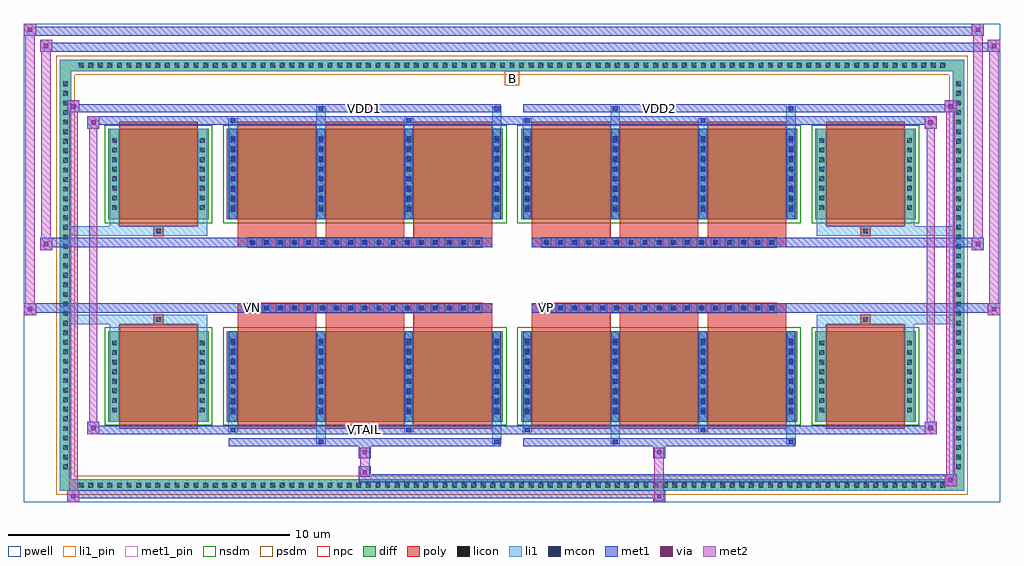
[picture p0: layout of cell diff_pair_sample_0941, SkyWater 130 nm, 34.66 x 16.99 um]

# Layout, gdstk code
import gdstk
lib = gdstk.Library(unit=1e-6, precision=5e-09)
def R(c, l, rs):  # rectangles x0, y0, x1, y1
    for r in rs: c.add(gdstk.rectangle(r[:2], r[2:], *l))
def A(c, l, x, y, w, h, nx, ny, dx, dy):  # array of equal rectangles
    R(c, l, [(x+i*dx, y+j*dy, x+i*dx+w, y+j*dy+h) for i in range(nx) for j in range(ny)])
def P(c, l, *ps):  # polygons
    for p in ps: c.add(gdstk.Polygon(p, *l))
pwell = (64, 44)
diff = (65, 20)
poly = (66, 20)
licon = (66, 44)
li1_pin = (67, 16)
li1 = (67, 20)
mcon = (67, 44)
met1_pin = (68, 16)
met1 = (68, 20)
via = (68, 44)
met2 = (69, 20)
nsdm = (93, 44)
psdm = (94, 20)
npc = (95, 20)

diff_pair_sample_0941 = lib.new_cell('diff_pair_sample_0941')
R(diff_pair_sample_0941, pwell, [(-17.33,-8.06,17.33,8.93), (-14.65,-6.25,-0.01,-0.795), (0.01,-6.25,14.65,-0.795), (-14.65,0.795,-0.01,6.25), (0.01,0.795,14.65,6.25)])
A(diff_pair_sample_0941, diff, -15.505, -7.66, 0.41, 0.41, 91, 2, 0.34, 14.91)
A(diff_pair_sample_0941, diff, -16.06, -7.005, 0.41, 0.41, 1, 41, 0, 0.34)
A(diff_pair_sample_0941, diff, 15.65, -7.005, 0.41, 0.41, 1, 41, 0, 0.34)
R(diff_pair_sample_0941, diff, [(-15.505,-7.66,15.505,-7.25), (-16.06,-7.005,-15.65,7.005), (15.65,-7.005,16.06,7.005), (-14.34,-5.205,-10.77,-1.985), (-10.13,-5.205,-0.32,-1.985), (0.32,-5.205,10.13,-1.985), (10.77,-5.205,14.34,-1.985), (-14.34,1.985,-10.77,5.205), (-10.13,1.985,-0.32,5.205), (0.32,1.985,10.13,5.205), (10.77,1.985,14.34,5.205), (-15.505,7.25,15.505,7.66)])
P(diff_pair_sample_0941, diff, [(16.06,7.66),(-16.06,7.66),(-16.06,-7.25),(-15.65,-7.25),(-15.65,7.25),(15.65,7.25),(15.65,-7.25),(-15.65,-7.25),(-16.06,-7.25),(-16.06,-7.66),(16.06,-7.66)])
A(diff_pair_sample_0941, poly, -9.74, -5.455, 2.79, 3.72, 3, 2, 3.12, 7.19)
A(diff_pair_sample_0941, poly, 0.71, -5.455, 2.79, 3.72, 3, 2, 3.12, 7.19)
A(diff_pair_sample_0941, poly, -9.74, -1.735, 2.79, 0.41, 3, 2, 3.12, 3.06)
A(diff_pair_sample_0941, poly, 0.71, -1.735, 2.79, 0.41, 3, 2, 3.12, 3.06)
A(diff_pair_sample_0941, poly, -9.39, -1.325, 0.33, 0.33, 17, 2, 0.5, 2.32)
A(diff_pair_sample_0941, poly, 1.06, -1.325, 0.33, 0.33, 17, 2, 0.5, 2.32)
R(diff_pair_sample_0941, poly, [(-13.95,-5.455,-11.16,-1.735), (11.16,-5.455,13.95,-1.735), (-12.72,-1.735,-12.39,-1.405), (-12.72,-1.735,-12.39,-1.405), (12.39,-1.735,12.72,-1.405), (12.39,-1.735,12.72,-1.405), (-9.74,-1.325,-0.71,-0.995), (0.71,-1.325,9.74,-0.995), (-9.74,0.995,-0.71,1.325), (0.71,0.995,9.74,1.325), (-12.72,1.405,-12.39,1.735), (-12.72,1.405,-12.39,1.735), (12.39,1.405,12.72,1.735), (12.39,1.405,12.72,1.735), (-13.95,1.735,-11.16,5.455), (11.16,1.735,13.95,5.455)])
A(diff_pair_sample_0941, licon, -15.385, -7.54, 0.17, 0.17, 91, 2, 0.34, 14.91)
A(diff_pair_sample_0941, licon, -15.94, -6.885, 0.17, 0.17, 1, 41, 0, 0.34)
A(diff_pair_sample_0941, licon, 15.77, -6.885, 0.17, 0.17, 1, 41, 0, 0.34)
A(diff_pair_sample_0941, licon, -14.2, -4.87, 0.17, 0.17, 1, 8, 0, 0.34)
A(diff_pair_sample_0941, licon, -11.08, -4.87, 0.17, 0.17, 1, 8, 0, 0.34)
A(diff_pair_sample_0941, licon, -9.99, -4.87, 0.17, 0.17, 4, 8, 3.12, 0.34)
A(diff_pair_sample_0941, licon, 0.46, -4.87, 0.17, 0.17, 4, 8, 3.12, 0.34)
A(diff_pair_sample_0941, licon, 10.91, -4.87, 0.17, 0.17, 1, 8, 0, 0.34)
A(diff_pair_sample_0941, licon, 14.03, -4.87, 0.17, 0.17, 1, 8, 0, 0.34)
A(diff_pair_sample_0941, licon, -9.31, -1.245, 0.17, 0.17, 17, 2, 0.5, 2.32)
A(diff_pair_sample_0941, licon, 1.14, -1.245, 0.17, 0.17, 17, 2, 0.5, 2.32)
A(diff_pair_sample_0941, licon, -14.2, 2.32, 0.17, 0.17, 1, 8, 0, 0.34)
A(diff_pair_sample_0941, licon, -11.08, 2.32, 0.17, 0.17, 1, 8, 0, 0.34)
A(diff_pair_sample_0941, licon, -9.99, 2.32, 0.17, 0.17, 4, 8, 3.12, 0.34)
A(diff_pair_sample_0941, licon, 0.46, 2.32, 0.17, 0.17, 4, 8, 3.12, 0.34)
A(diff_pair_sample_0941, licon, 10.91, 2.32, 0.17, 0.17, 1, 8, 0, 0.34)
A(diff_pair_sample_0941, licon, 14.03, 2.32, 0.17, 0.17, 1, 8, 0, 0.34)
R(diff_pair_sample_0941, licon, [(-12.64,-1.655,-12.47,-1.485), (12.47,-1.655,12.64,-1.485), (-12.64,1.485,-12.47,1.655), (12.47,1.485,12.64,1.655)])
R(diff_pair_sample_0941, li1_pin, [(-0.25,6.75,0.25,7.25)])
A(diff_pair_sample_0941, li1, -15.465, -7.62, 0.33, 0.33, 91, 2, 0.34, 14.91)
A(diff_pair_sample_0941, li1, -16.02, -6.965, 0.33, 0.33, 1, 41, 0, 0.34)
A(diff_pair_sample_0941, li1, 15.69, -6.965, 0.33, 0.33, 1, 41, 0, 0.34)
A(diff_pair_sample_0941, li1, -10.07, -5.205, 0.33, 3.22, 4, 2, 3.12, 7.19)
A(diff_pair_sample_0941, li1, 0.38, -5.205, 0.33, 3.22, 4, 2, 3.12, 7.19)
A(diff_pair_sample_0941, li1, -14.28, -4.95, 0.33, 0.33, 1, 8, 0, 0.34)
A(diff_pair_sample_0941, li1, -11.16, -4.95, 0.33, 0.33, 1, 8, 0, 0.34)
A(diff_pair_sample_0941, li1, -10.07, -4.95, 0.33, 0.33, 4, 8, 3.12, 0.34)
A(diff_pair_sample_0941, li1, 0.38, -4.95, 0.33, 0.33, 4, 8, 3.12, 0.34)
A(diff_pair_sample_0941, li1, 10.83, -4.95, 0.33, 0.33, 1, 8, 0, 0.34)
A(diff_pair_sample_0941, li1, 13.95, -4.95, 0.33, 0.33, 1, 8, 0, 0.34)
A(diff_pair_sample_0941, li1, -9.99, -4.94, 0.17, 0.17, 4, 8, 3.12, 0.36)
A(diff_pair_sample_0941, li1, -9.99, -4.94, 0.17, 2.69, 4, 2, 3.12, 7.19)
A(diff_pair_sample_0941, li1, 0.46, -4.94, 0.17, 0.17, 4, 8, 3.12, 0.36)
A(diff_pair_sample_0941, li1, 0.46, -4.94, 0.17, 2.69, 4, 2, 3.12, 7.19)
A(diff_pair_sample_0941, li1, -9.39, -1.325, 0.33, 0.33, 17, 2, 0.5, 2.32)
A(diff_pair_sample_0941, li1, 1.06, -1.325, 0.33, 0.33, 17, 2, 0.5, 2.32)
A(diff_pair_sample_0941, li1, -14.28, 2.24, 0.33, 0.33, 1, 8, 0, 0.34)
A(diff_pair_sample_0941, li1, -11.16, 2.24, 0.33, 0.33, 1, 8, 0, 0.34)
A(diff_pair_sample_0941, li1, -10.07, 2.24, 0.33, 0.33, 4, 8, 3.12, 0.34)
A(diff_pair_sample_0941, li1, 0.38, 2.24, 0.33, 0.33, 4, 8, 3.12, 0.34)
A(diff_pair_sample_0941, li1, 10.83, 2.24, 0.33, 0.33, 1, 8, 0, 0.34)
A(diff_pair_sample_0941, li1, 13.95, 2.24, 0.33, 0.33, 1, 8, 0, 0.34)
A(diff_pair_sample_0941, li1, -9.99, 2.25, 0.17, 0.17, 4, 8, 3.12, 0.36)
A(diff_pair_sample_0941, li1, 0.46, 2.25, 0.17, 0.17, 4, 8, 3.12, 0.36)
R(diff_pair_sample_0941, li1, [(-16.06,-7.66,-15.65,-7.25), (-16.06,-7.66,-15.65,-7.25), (-15.65,-7.66,15.65,-7.25), (15.65,-7.66,16.06,-7.25), (15.65,-7.66,16.06,-7.25), (-16.06,-7.25,-15.65,7.25), (15.65,-7.25,16.06,7.25), (-6.95,-6.01,-6.62,-5.205), (-6.87,-6.01,-6.7,-5.84), (-0.71,-6.01,-0.38,-5.205), (-0.63,-6.01,-0.46,-5.84), (3.5,-6.01,3.83,-5.205), (3.58,-6.01,3.75,-5.84), (9.74,-6.01,10.07,-5.205), (9.82,-6.01,9.99,-5.84), (-10.07,-5.58,-9.74,-5.205), (-9.99,-5.58,-9.82,-5.41), (-3.83,-5.58,-3.5,-5.205), (-3.75,-5.58,-3.58,-5.41), (0.38,-5.58,0.71,-5.205), (0.46,-5.58,0.63,-5.41), (6.62,-5.58,6.95,-5.205), (6.7,-5.58,6.87,-5.41), (-14.28,-5.205,-13.95,-1.985), (-11.16,-5.205,-10.83,-1.985), (10.83,-5.205,11.16,-1.985), (13.95,-5.205,14.28,-1.985), (-14.28,-1.985,-13.95,-1.405), (-11.16,-1.985,-10.83,-1.405), (10.83,-1.985,11.16,-1.405), (13.95,-1.985,14.28,-1.405), (-16.06,-1.735,-12.72,-1.405), (-14.28,-1.735,-12.72,-1.405), (-12.72,-1.735,-12.39,-1.405), (-12.39,-1.735,-10.83,-1.405), (10.83,-1.735,12.39,-1.405), (12.39,-1.735,12.72,-1.405), (12.39,-1.735,16.06,-1.405), (12.72,-1.735,14.28,-1.405), (-16.06,1.405,-12.72,1.735), (-14.28,1.405,-12.72,1.735), (-14.28,1.405,-13.95,1.985), (-12.72,1.405,-12.39,1.735), (-12.39,1.405,-10.83,1.735), (-11.16,1.405,-10.83,1.985), (10.83,1.405,12.39,1.735), (10.83,1.405,11.16,1.985), (12.39,1.405,12.72,1.735), (12.39,1.405,16.06,1.735), (12.72,1.405,14.28,1.735), (13.95,1.405,14.28,1.985), (-14.28,1.985,-13.95,5.205), (-11.16,1.985,-10.83,5.205), (10.83,1.985,11.16,5.205), (13.95,1.985,14.28,5.205), (-10.07,5.205,-9.74,5.58), (-6.95,5.205,-6.62,6.01), (-3.83,5.205,-3.5,5.58), (-0.71,5.205,-0.38,6.01), (0.38,5.205,0.71,5.58), (3.5,5.205,3.83,6.01), (6.62,5.205,6.95,5.58), (9.74,5.205,10.07,6.01), (-9.99,5.41,-9.82,5.58), (-3.75,5.41,-3.58,5.58), (0.46,5.41,0.63,5.58), (6.7,5.41,6.87,5.58), (-6.87,5.84,-6.7,6.01), (-0.63,5.84,-0.46,6.01), (3.58,5.84,3.75,6.01), (9.82,5.84,9.99,6.01), (-16.06,7.25,-15.65,7.66), (-16.06,7.25,-15.65,7.66), (-15.65,7.25,15.65,7.66), (15.65,7.25,16.06,7.66), (15.65,7.25,16.06,7.66)])
A(diff_pair_sample_0941, mcon, -9.99, -4.94, 0.17, 0.17, 4, 8, 3.12, 0.36)
A(diff_pair_sample_0941, mcon, 0.46, -4.94, 0.17, 0.17, 4, 8, 3.12, 0.36)
A(diff_pair_sample_0941, mcon, -9.31, -1.245, 0.17, 0.17, 17, 2, 0.5, 2.32)
A(diff_pair_sample_0941, mcon, 1.14, -1.245, 0.17, 0.17, 17, 2, 0.5, 2.32)
A(diff_pair_sample_0941, mcon, -9.99, 2.25, 0.17, 0.17, 4, 8, 3.12, 0.36)
A(diff_pair_sample_0941, mcon, 0.46, 2.25, 0.17, 0.17, 4, 8, 3.12, 0.36)
R(diff_pair_sample_0941, mcon, [(-6.87,-6.01,-6.7,-5.84), (-0.63,-6.01,-0.46,-5.84), (3.58,-6.01,3.75,-5.84), (9.82,-6.01,9.99,-5.84), (-9.99,-5.58,-9.82,-5.41), (-3.75,-5.58,-3.58,-5.41), (0.46,-5.58,0.63,-5.41), (6.7,-5.58,6.87,-5.41), (-9.99,5.41,-9.82,5.58), (-3.75,5.41,-3.58,5.58), (0.46,5.41,0.63,5.58), (6.7,5.41,6.87,5.58), (-6.87,5.84,-6.7,6.01), (-0.63,5.84,-0.46,6.01), (3.58,5.84,3.75,6.01), (9.82,5.84,9.99,6.01)])
R(diff_pair_sample_0941, met1_pin, [(-5.36,-5.62,-5.09,-5.35), (-9.36,-1.285,-9.09,-1.015), (1.09,-1.285,1.36,-1.015), (-5.36,5.8,-5.09,6.07), (5.09,5.8,5.36,6.07)])
A(diff_pair_sample_0941, met1, -10.05, -5.205, 0.29, 3.22, 4, 2, 3.12, 7.19)
A(diff_pair_sample_0941, met1, 0.4, -5.205, 0.29, 3.22, 4, 2, 3.12, 7.19)
A(diff_pair_sample_0941, met1, -10.05, -5, 0.29, 0.29, 4, 8, 3.12, 0.36)
A(diff_pair_sample_0941, met1, 0.4, -5, 0.29, 0.29, 4, 8, 3.12, 0.36)
A(diff_pair_sample_0941, met1, -9.37, -1.305, 0.29, 0.29, 17, 2, 0.5, 2.32)
A(diff_pair_sample_0941, met1, 1.08, -1.305, 0.29, 0.29, 17, 2, 0.5, 2.32)
A(diff_pair_sample_0941, met1, -10.05, 2.19, 0.29, 0.29, 4, 8, 3.12, 0.36)
A(diff_pair_sample_0941, met1, 0.4, 2.19, 0.29, 0.29, 4, 8, 3.12, 0.36)
R(diff_pair_sample_0941, met1, [(-15.79,-8.06,-15.36,-7.63), (5.01,-8.06,5.44,-7.63), (-15.79,-7.92,5.44,-7.63), (15.36,-7.49,15.79,-7.06), (-5.44,-7.35,15.79,-7.06), (-5.44,-7.21,-5.01,-6.78), (-5.44,-6.5,-5.01,-6.07), (5.01,-6.5,5.44,-6.07), (-10.05,-6.07,-0.4,-5.78), (-6.93,-6.07,-6.64,-5.78), (-0.69,-6.07,-0.4,-5.78), (0.4,-6.07,10.05,-5.78), (3.52,-6.07,3.81,-5.78), (9.76,-6.07,10.05,-5.78), (-15.08,-5.64,-14.65,-5.21), (-15.08,-5.64,-10.05,-5.35), (-10.05,-5.64,-9.76,-5.35), (-10.05,-5.64,-0.4,-5.35), (-3.81,-5.64,-3.52,-5.35), (-0.4,-5.64,0.4,-5.35), (0.4,-5.64,0.69,-5.35), (0.4,-5.64,10.05,-5.35), (6.64,-5.64,6.93,-5.35), (10.05,-5.64,15.08,-5.35), (14.65,-5.64,15.08,-5.21), (-17.33,-1.425,-16.9,-0.995), (16.9,-1.425,17.33,-0.995), (-17.33,-1.325,-0.71,-0.995), (-9.74,-1.325,-0.71,-0.995), (0.71,-1.325,9.74,-0.995), (0.71,-1.325,17.33,-0.995), (-16.76,0.895,-16.33,1.325), (16.33,0.895,16.76,1.325), (-16.76,0.995,-9.74,1.325), (-9.74,0.995,-0.71,1.325), (0.71,0.995,9.74,1.325), (9.74,0.995,16.76,1.325), (-15.08,5.21,-14.65,5.64), (14.65,5.21,15.08,5.64), (-15.08,5.35,-10.05,5.64), (-10.05,5.35,-9.76,5.64), (-10.05,5.35,-0.4,5.64), (-3.81,5.35,-3.52,5.64), (-0.4,5.35,0.4,5.64), (0.4,5.35,0.69,5.64), (0.4,5.35,10.05,5.64), (6.64,5.35,6.93,5.64), (10.05,5.35,15.08,5.64), (-15.79,5.78,-15.36,6.21), (-15.79,5.78,-10.05,6.07), (-10.05,5.78,-0.4,6.07), (-6.93,5.78,-6.64,6.07), (-0.69,5.78,-0.4,6.07), (0.4,5.78,10.05,6.07), (3.52,5.78,3.81,6.07), (9.76,5.78,10.05,6.07), (10.05,5.78,15.79,6.07), (15.36,5.78,15.79,6.21), (-16.76,7.93,-16.33,8.36), (-16.76,7.93,-14.65,8.26), (-14.65,7.93,14.65,8.26), (14.65,7.93,17.33,8.26), (16.9,7.93,17.33,8.36), (-17.33,8.5,-16.9,8.93), (-17.33,8.5,-14.65,8.83), (-14.65,8.5,14.65,8.83), (14.65,8.5,16.76,8.83), (16.33,8.5,16.76,8.93)])
R(diff_pair_sample_0941, via, [(-15.65,-7.92,-15.5,-7.77), (5.15,-7.92,5.3,-7.77), (15.5,-7.35,15.65,-7.2), (-5.3,-7.07,-5.15,-6.92), (-5.3,-6.36,-5.15,-6.21), (5.15,-6.36,5.3,-6.21), (-14.94,-5.5,-14.79,-5.35), (14.79,-5.5,14.94,-5.35), (-17.19,-1.285,-17.04,-1.135), (17.04,-1.285,17.19,-1.135), (-16.62,1.035,-16.47,1.185), (16.47,1.035,16.62,1.185), (-14.94,5.35,-14.79,5.5), (14.79,5.35,14.94,5.5), (-15.65,5.92,-15.5,6.07), (15.5,5.92,15.65,6.07), (-16.62,8.07,-16.47,8.22), (17.04,8.07,17.19,8.22), (-17.19,8.64,-17.04,8.79), (16.47,8.64,16.62,8.79)])
R(diff_pair_sample_0941, met2, [(-15.79,-8.06,-15.36,-7.63), (-15.72,-8.06,-15.43,6.21), (-15.43,-8.06,-15.36,-7.63), (-15.74,-8.01,-15.41,-7.68), (5.06,-8.01,5.39,-7.68), (5.06,-7.68,5.39,-6.45), (15.36,-7.49,15.79,-7.06), (15.43,-7.49,15.72,6.21), (15.72,-7.49,15.79,-7.06), (15.41,-7.44,15.74,-7.11), (-5.39,-7.16,-5.06,-6.83), (-5.39,-6.83,-5.06,-6.45), (-5.39,-6.45,-5.06,-6.12), (5.06,-6.45,5.39,-6.12), (-15.08,-5.64,-14.65,-5.21), (-15.01,-5.64,-14.72,5.64), (-14.72,-5.64,-14.65,-5.21), (14.65,-5.64,15.08,-5.21), (14.72,-5.64,15.01,5.64), (15.01,-5.64,15.08,-5.21), (-15.03,-5.59,-14.7,-5.26), (14.7,-5.59,15.03,-5.26), (-17.33,-1.425,-16.9,-0.995), (-17.28,-1.425,-16.95,8.93), (-16.95,-1.425,-16.9,-0.995), (16.9,-1.425,17.33,-0.995), (16.95,-1.425,17.28,8.36), (17.28,-1.425,17.33,-0.995), (-17.28,-1.375,-16.95,-1.045), (16.95,-1.375,17.28,-1.045), (-16.76,0.895,-16.33,1.325), (-16.71,0.895,-16.38,8.36), (-16.38,0.895,-16.33,1.325), (16.33,0.895,16.76,1.325), (16.38,0.895,16.71,8.93), (16.71,0.895,16.76,1.325), (-16.71,0.945,-16.38,1.275), (16.38,0.945,16.71,1.275), (-15.08,5.21,-14.65,5.64), (-14.72,5.21,-14.65,5.64), (14.65,5.21,15.08,5.64), (15.01,5.21,15.08,5.64), (-15.03,5.26,-14.7,5.59), (14.7,5.26,15.03,5.59), (-15.79,5.78,-15.36,6.21), (-15.43,5.78,-15.36,6.21), (15.36,5.78,15.79,6.21), (15.72,5.78,15.79,6.21), (-15.74,5.83,-15.41,6.16), (15.41,5.83,15.74,6.16), (-16.76,7.93,-16.33,8.36), (-16.38,7.93,-16.33,8.36), (16.9,7.93,17.33,8.36), (17.28,7.93,17.33,8.36), (-16.71,7.98,-16.38,8.31), (16.95,7.98,17.28,8.31), (-17.33,8.5,-16.9,8.93), (-16.95,8.5,-16.9,8.93), (16.33,8.5,16.76,8.93), (16.71,8.5,16.76,8.93), (-17.28,8.55,-16.95,8.88), (16.38,8.55,16.71,8.88)])
R(diff_pair_sample_0941, nsdm, [(-14.47,-5.335,-10.64,-1.855), (-10.26,-5.335,-0.19,-1.855), (0.19,-5.335,10.26,-1.855), (10.64,-5.335,14.47,-1.855), (-14.47,1.855,-10.64,5.335), (-10.26,1.855,-0.19,5.335), (0.19,1.855,10.26,5.335), (10.64,1.855,14.47,5.335)])
P(diff_pair_sample_0941, psdm, [(16.19,7.79),(-16.19,7.79),(-16.19,-7.12),(-15.52,-7.12),(-15.52,7.12),(15.52,7.12),(15.52,-7.12),(-15.52,-7.12),(-16.19,-7.12),(-16.19,-7.79),(16.19,-7.79)])
A(diff_pair_sample_0941, npc, -9.41, -1.345, 0.37, 0.37, 17, 2, 0.5, 2.32)
A(diff_pair_sample_0941, npc, 1.04, -1.345, 0.37, 0.37, 17, 2, 0.5, 2.32)
R(diff_pair_sample_0941, npc, [(-12.74,-1.755,-12.37,-1.385), (12.37,-1.755,12.74,-1.385), (-9.41,-1.345,-8.54,-0.975), (-9.41,-1.345,-8.54,-0.975), (-8.91,-1.345,-8.04,-0.975), (-8.91,-1.345,-8.04,-0.975), (-8.41,-1.345,-7.54,-0.975), (-8.41,-1.345,-7.54,-0.975), (-7.91,-1.345,-7.04,-0.975), (-7.91,-1.345,-7.04,-0.975), (-7.41,-1.345,-6.54,-0.975), (-7.41,-1.345,-6.54,-0.975), (-6.91,-1.345,-6.04,-0.975), (-6.91,-1.345,-6.04,-0.975), (-6.41,-1.345,-5.54,-0.975), (-6.41,-1.345,-5.54,-0.975), (-5.91,-1.345,-5.04,-0.975), (-5.91,-1.345,-5.04,-0.975), (-5.41,-1.345,-4.54,-0.975), (-5.41,-1.345,-4.54,-0.975), (-4.91,-1.345,-4.04,-0.975), (-4.91,-1.345,-4.04,-0.975), (-4.41,-1.345,-3.54,-0.975), (-4.41,-1.345,-3.54,-0.975), (-3.91,-1.345,-3.04,-0.975), (-3.91,-1.345,-3.04,-0.975), (-3.41,-1.345,-2.54,-0.975), (-3.41,-1.345,-2.54,-0.975), (-2.91,-1.345,-2.04,-0.975), (-2.91,-1.345,-2.04,-0.975), (-2.41,-1.345,-1.54,-0.975), (-2.41,-1.345,-1.54,-0.975), (-1.91,-1.345,-1.04,-0.975), (-1.91,-1.345,-1.04,-0.975), (1.04,-1.345,1.91,-0.975), (1.04,-1.345,1.91,-0.975), (1.54,-1.345,2.41,-0.975), (1.54,-1.345,2.41,-0.975), (2.04,-1.345,2.91,-0.975), (2.04,-1.345,2.91,-0.975), (2.54,-1.345,3.41,-0.975), (2.54,-1.345,3.41,-0.975), (3.04,-1.345,3.91,-0.975), (3.04,-1.345,3.91,-0.975), (3.54,-1.345,4.41,-0.975), (3.54,-1.345,4.41,-0.975), (4.04,-1.345,4.91,-0.975), (4.04,-1.345,4.91,-0.975), (4.54,-1.345,5.41,-0.975), (4.54,-1.345,5.41,-0.975), (5.04,-1.345,5.91,-0.975), (5.04,-1.345,5.91,-0.975), (5.54,-1.345,6.41,-0.975), (5.54,-1.345,6.41,-0.975), (6.04,-1.345,6.91,-0.975), (6.04,-1.345,6.91,-0.975), (6.54,-1.345,7.41,-0.975), (6.54,-1.345,7.41,-0.975), (7.04,-1.345,7.91,-0.975), (7.04,-1.345,7.91,-0.975), (7.54,-1.345,8.41,-0.975), (7.54,-1.345,8.41,-0.975), (8.04,-1.345,8.91,-0.975), (8.04,-1.345,8.91,-0.975), (8.54,-1.345,9.41,-0.975), (8.54,-1.345,9.41,-0.975), (-9.41,0.975,-8.54,1.345), (-9.41,0.975,-8.54,1.345), (-8.91,0.975,-8.04,1.345), (-8.91,0.975,-8.04,1.345), (-8.41,0.975,-7.54,1.345), (-8.41,0.975,-7.54,1.345), (-7.91,0.975,-7.04,1.345), (-7.91,0.975,-7.04,1.345), (-7.41,0.975,-6.54,1.345), (-7.41,0.975,-6.54,1.345), (-6.91,0.975,-6.04,1.345), (-6.91,0.975,-6.04,1.345), (-6.41,0.975,-5.54,1.345), (-6.41,0.975,-5.54,1.345), (-5.91,0.975,-5.04,1.345), (-5.91,0.975,-5.04,1.345), (-5.41,0.975,-4.54,1.345), (-5.41,0.975,-4.54,1.345), (-4.91,0.975,-4.04,1.345), (-4.91,0.975,-4.04,1.345), (-4.41,0.975,-3.54,1.345), (-4.41,0.975,-3.54,1.345), (-3.91,0.975,-3.04,1.345), (-3.91,0.975,-3.04,1.345), (-3.41,0.975,-2.54,1.345), (-3.41,0.975,-2.54,1.345), (-2.91,0.975,-2.04,1.345), (-2.91,0.975,-2.04,1.345), (-2.41,0.975,-1.54,1.345), (-2.41,0.975,-1.54,1.345), (-1.91,0.975,-1.04,1.345), (-1.91,0.975,-1.04,1.345), (1.04,0.975,1.91,1.345), (1.04,0.975,1.91,1.345), (1.54,0.975,2.41,1.345), (1.54,0.975,2.41,1.345), (2.04,0.975,2.91,1.345), (2.04,0.975,2.91,1.345), (2.54,0.975,3.41,1.345), (2.54,0.975,3.41,1.345), (3.04,0.975,3.91,1.345), (3.04,0.975,3.91,1.345), (3.54,0.975,4.41,1.345), (3.54,0.975,4.41,1.345), (4.04,0.975,4.91,1.345), (4.04,0.975,4.91,1.345), (4.54,0.975,5.41,1.345), (4.54,0.975,5.41,1.345), (5.04,0.975,5.91,1.345), (5.04,0.975,5.91,1.345), (5.54,0.975,6.41,1.345), (5.54,0.975,6.41,1.345), (6.04,0.975,6.91,1.345), (6.04,0.975,6.91,1.345), (6.54,0.975,7.41,1.345), (6.54,0.975,7.41,1.345), (7.04,0.975,7.91,1.345), (7.04,0.975,7.91,1.345), (7.54,0.975,8.41,1.345), (7.54,0.975,8.41,1.345), (8.04,0.975,8.91,1.345), (8.04,0.975,8.91,1.345), (8.54,0.975,9.41,1.345), (8.54,0.975,9.41,1.345), (-12.74,1.385,-12.37,1.755), (12.37,1.385,12.74,1.755)])
diff_pair_sample_0941.add(gdstk.Label('VTAIL', (-5.225,-5.485), layer=68, texttype=5))
diff_pair_sample_0941.add(gdstk.Label('VN', (-9.225,-1.15), layer=68, texttype=5))
diff_pair_sample_0941.add(gdstk.Label('VP', (1.225,-1.15), layer=68, texttype=5))
diff_pair_sample_0941.add(gdstk.Label('B', (0,7), layer=67, texttype=5))
diff_pair_sample_0941.add(gdstk.Label('VDD2', (5.225,5.935), layer=68, texttype=5))
diff_pair_sample_0941.add(gdstk.Label('VDD1', (-5.225,5.935), layer=68, texttype=5))

lib.write_gds('diff_pair_sample_0941.gds')
